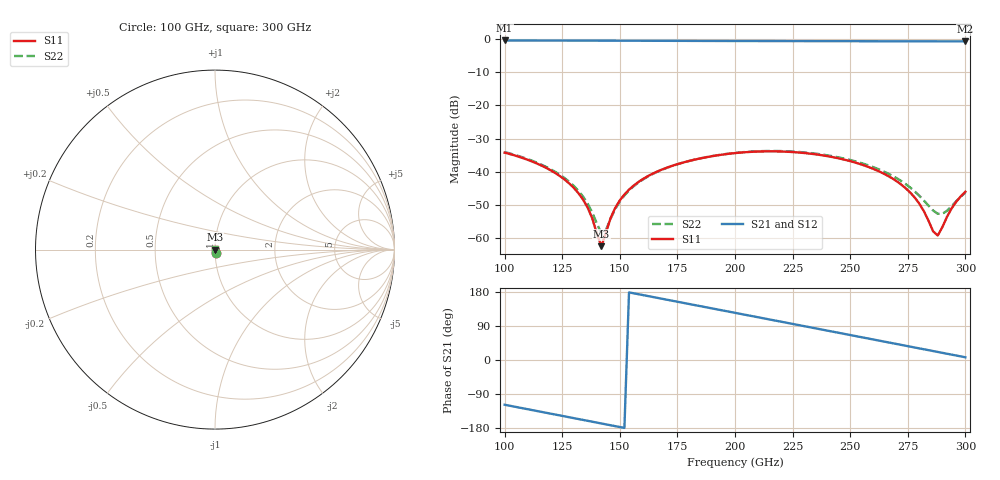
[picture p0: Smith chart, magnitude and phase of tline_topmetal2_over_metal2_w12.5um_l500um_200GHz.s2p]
#  GHZ S DB R 50
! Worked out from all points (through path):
!   101 points, 100 GHz to 300 GHz, reference 50 ohm
!   highest |S21| = -0.30 dB at 100 GHz (marker M1); lowest = -0.6 dB at 300 GHz (marker M2)
!   group delay of S21, straight-line fit = 3.26 ps
!   lowest |S11| = -62.6 dB at 142 GHz (marker M3), VSWR 1.00, Z = 49.9 + j0.0274 ohm
!   |S11| at or under -10 dB: start of sweep to end of sweep
!   |S22| runs from -58.7 to -33.8 dB; largest |S21 - S12| = 1.7e-12
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100  -34.27 -67.1  -0.30 -118.1  -0.30 -118.1  -34.11 -68.4
122  -40.46 -93.1  -0.33 -144.0  -0.33 -144.0  -40.11 -95.7
128  -43.58 -101.5  -0.34 -151.0  -0.34 -151.0  -43.08 -105.0
134  -48.44 -112.8  -0.35 -158.1  -0.35 -158.1  -47.56 -117.9
138  -54.10 -127.8  -0.35 -162.8  -0.35 -162.8  -52.35 -134.5
142  -62.61 158.2  -0.36 -167.5  -0.36 -167.5  -58.73 172.2
144  -58.49 106.3  -0.36 -169.8  -0.36 -169.8  -57.70 126.7
146  -54.11 87.8  -0.37 -172.2  -0.37 -172.2  -54.31 100.5
152  -46.96 69.0  -0.38 -179.2  -0.38 -179.2  -47.24 73.4
158  -43.20 59.5  -0.39 173.7  -0.39 173.7  -43.38 61.6
168  -39.49 47.3  -0.41 162.0  -0.41 162.0  -39.56 47.9
200  -34.42 11.8  -0.47 124.5  -0.47 124.5  -34.36 10.4
218  -33.90 -10.2  -0.49 103.4  -0.49 103.4  -33.78 -12.4
234  -34.70 -30.5  -0.50 84.7  -0.50 84.7  -34.50 -33.5
254  -37.67 -56.6  -0.53 61.2  -0.53 61.2  -37.27 -61.5
268  -41.97 -76.7  -0.54 44.8  -0.54 44.8  -41.17 -84.5
278  -47.88 -96.5  -0.56 33.0  -0.56 33.0  -46.01 -108.8
282  -52.04 -111.2  -0.56 28.3  -0.56 28.3  -48.80 -125.3
286  -58.13 -149.8  -0.57 23.6  -0.57 23.6  -51.81 -153.4
288  -59.38 167.8  -0.57 21.3  -0.57 21.3  -52.80 -173.8
294  -51.20 102.1  -0.58 14.2  -0.58 14.2  -50.51 127.1
300  -46.13 84.6  -0.59 7.2  -0.59 7.2  -46.36 98.5
